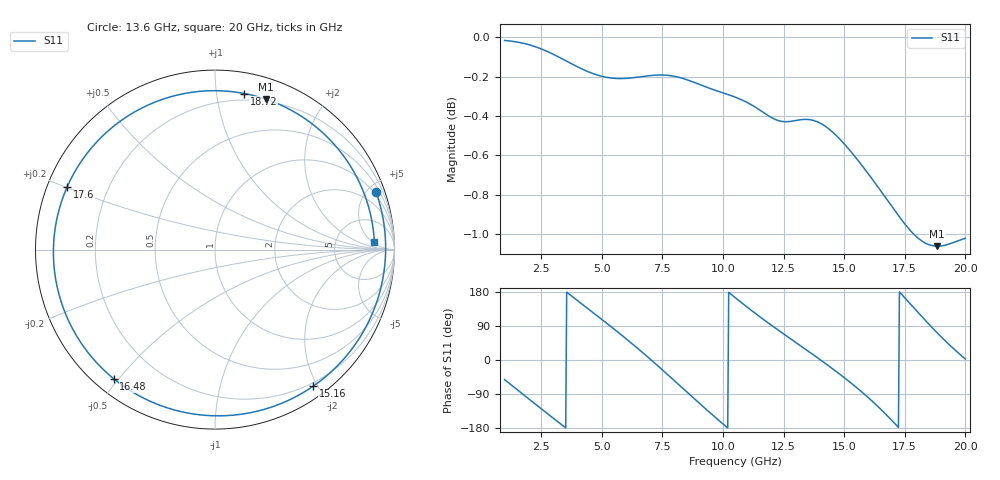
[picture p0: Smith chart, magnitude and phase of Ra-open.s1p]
! Touchstone file from project TestMultiLine
! Exported from HFSS 14.0.0
! Variables:
!  gap = 0mm
!  hair = 35mm
!  hsub = 0.762mm
!  l = 28mm
!  lair = 40mm
!  lmic = 14mm
!  w = 25mm
!  wair = 40mm
!  wmic = 2.1mm
!Data is not renormalized
# GHZ S MA
! Modal data exported
! Port[1] = 1:1
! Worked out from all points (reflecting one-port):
!   476 points, 1 GHz to 20 GHz, reference per port
!   lowest |S11| = -1.1 dB at 18.84 GHz (marker M1), VSWR 16.37
!   phase of S11 starts at -52 deg and turns -1026 deg over the sweep
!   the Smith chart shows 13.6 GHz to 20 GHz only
!   S11 on the Smith chart (normalised r, x): 13.6 GHz: 0.81, +5.66; 15.16 GHz: 0.16, -1.94; 16.48 GHz: 0.06, -0.49; 17.6 GHz: 0.06, +0.20; 18.72 GHz: 0.15, +1.19; 20 GHz: 15, +6
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1  0.9981 -51.7
2.12  0.9951 -109.0
3.4  0.9872 -173.1
4.04  0.9826 155.2
4.72  0.9785 121.5
5.76  0.9761 69.0
7  0.9778 2.5
7.56  0.9781 -29.2
8.16  0.9769 -63.9
9.12  0.9723 -119.5
9.84  0.9687 -159.8
10.52  0.9655 164.0
11.68  0.9568 106.6
12.88  0.9521 52.0
13.6  0.9528 19.7
14.36  0.9478 -15.4
15.16  0.9371 -54.3
15.28  0.9352 -60.5
15.92  0.9245 -95.0
16.48  0.9145 -128.1
17.08  0.9037 -166.9
17.6  0.8949 157.1
17.64  0.8943 154.3
18.2  0.8876 114.9
18.72  0.885 79.3
18.84  0.8849 71.4
19.44  0.8865 34.1
20  0.889 2.6
